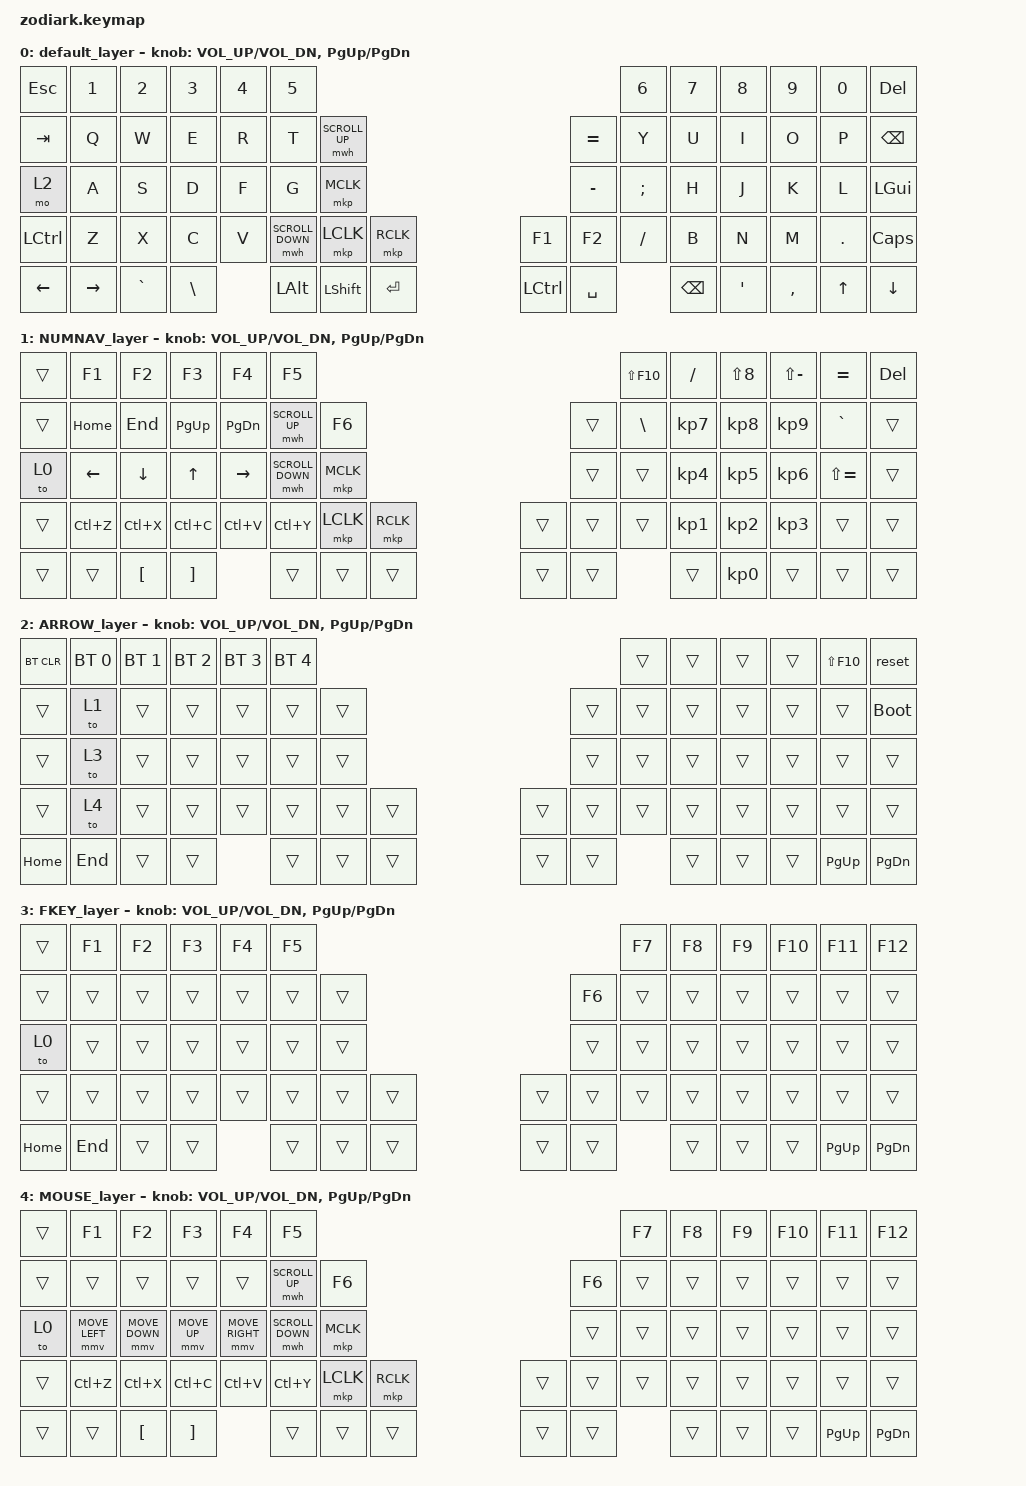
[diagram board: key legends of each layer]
/*
 * Copyright (c) 2020 The ZMK Contributors
 *
 * SPDX-License-Identifier: MIT
 */

#include <behaviors.dtsi>
#include <dt-bindings/zmk/keys.h>
#include <dt-bindings/zmk/bt.h>
#include <dt-bindings/zmk/mouse.h>

#define DEFAULT 0
#define NUMNAV 1 
#define ARROW 2 
#define FKEY 3
#define MOUSE 4
/ {
    keymap {
        compatible = "zmk,keymap";

        default_layer {
// ------------------------------------------------------------------------------------------------------------
// |  ESC  |  1  |  2  |  3   |  4   |  5   |                                  |  6   |  7    |  8    |  9   |   0   | BKSPC |
// |  TAB  |  Q  |  W  |  E   |  R   |  T   |   [    |                 |   ]   |  Y   |  U    |  I    |  O   |   P   |   \   |
// |  CAPS |  A  |  S  |  D   |  F   |  G   |   -    |                 |   =   |  H   |  J    |  K    |  L   |   ;   |   '   |
// | SHIFT |  Z  |  X  |  C   |  V   |  B   |   `    | MUTE  | | PRNT  |  DEL  |  N   |  M    |  ,    |  .   |   /   | ENTER |
// | CTRL  | ALT | GUI | MENU | LOWER|     SPACE     | ENTER | | ENTER |    SPACE     | RAISE| LEFT  | DOWN  |  UP   | RIGHT |
            bindings = <
&kp ESC    &kp N1    &kp N2    &kp N3      &kp N4      &kp N5                                                                                 &kp N6    &kp N7     &kp N8     &kp N9     &kp N0     &kp DEL
&kp TAB    &kp Q     &kp W     &kp E       &kp R       &kp T              &mwh SCROLL_UP                                        &kp EQUAL     &kp Y     &kp U      &kp I      &kp O      &kp P      &kp BSPC
&mo 2      &kp A     &kp S     &kp D       &kp F       &kp G              &mkp MCLK                                             &kp MINUS     &kp SEMI  &kp H      &kp J      &kp K      &kp L      &kp LGUI
&kp LCTRL  &kp Z     &kp X     &kp C       &kp V       &mwh SCROLL_DOWN   &mkp LCLK   &mkp RCLK                     &kp F1      &kp F2        &kp FSLH  &kp B      &kp N      &kp M      &kp DOT    &kp CAPS 
&kp LEFT   &kp RIGHT &kp GRAVE &kp BSLH                &kp LALT           &kp LSHFT   &kp RET                       &kp LCTRL   &kp SPACE               &kp BSPC   &kp SQT    &kp COMMA  &kp UP     &kp DOWN
            >;

            sensor-bindings = <&inc_dec_kp C_VOL_UP C_VOL_DN &inc_dec_kp PG_UP PG_DN>;
        };

        NUMNAV_layer {
            bindings = <
&trans        &kp F1          &kp F2          &kp F3        &kp F4              &kp F5                                                                        &kp LS(F10)  &kp FSLH       &kp LS(N8)    &kp LS(MINUS)  &kp EQUAL      &kp DEL
&trans        &kp HOME        &kp END         &kp PG_UP     &kp PG_DN           &mwh SCROLL_UP    &kp F6                                          &trans      &kp BSLH     &kp KP_N7      &kp KP_N8     &kp KP_N9      &kp GRAVE      &trans
&to 0         &kp LEFT        &kp DOWN        &kp UP        &kp RIGHT           &mwh SCROLL_DOWN  &mkp MCLK                                       &trans      &trans       &kp KP_N4      &kp KP_N5     &kp KP_N6      &kp LS(EQUAL)  &trans
&trans        &kp LC(Z)       &kp LC(X)       &kp LC(C)     &kp LC(V)           &kp LC(Y)         &mkp LCLK    &mkp RCLK               &trans     &trans      &trans       &kp KP_N1      &kp KP_N2     &kp KP_N3      &trans         &trans
&trans        &trans          &kp LBKT        &kp RBKT                          &trans            &trans       &trans                  &trans     &trans      &trans       &kp KP_N0      &trans        &trans         &trans
            >;

            sensor-bindings = <&inc_dec_kp C_VOL_UP C_VOL_DN &inc_dec_kp PG_UP PG_DN>;
        };

        ARROW_layer {
           bindings = <
&bt BT_CLR  &bt BT_SEL 0   &bt BT_SEL 1   &bt BT_SEL 2  &bt BT_SEL 3   &bt BT_SEL 4                                                    &trans  &trans  &trans  &trans  &kp LS(F10)  &reset
&trans      &to 1          &trans         &trans        &trans         &trans      &trans                                      &trans  &trans  &trans  &trans  &trans  &trans       &bootloader
&trans      &to 3          &trans         &trans        &trans         &trans      &trans                                      &trans  &trans  &trans  &trans  &trans  &trans       &trans
&trans      &to 4          &trans         &trans        &trans         &trans      &trans    &trans                 &trans     &trans  &trans  &trans  &trans  &trans  &trans       &trans
&kp HOME   &kp END         &trans         &trans                       &trans      &trans    &trans                 &trans     &trans  &trans          &trans  &trans  &kp PG_UP    &kp PG_DN
            >;

            sensor-bindings = <&inc_dec_kp C_VOL_UP C_VOL_DN &inc_dec_kp PG_UP PG_DN>;
        };
                FKEY_layer {
           bindings = <
&trans      &kp F1         &kp F2         &kp F3        &kp F4         &kp F5                                                          &kp F7  &kp F8  &kp F9  &kp F10    &kp F11    &kp F12
&trans      &trans         &trans         &trans        &trans         &trans      &trans                                      &kp F6  &trans  &trans  &trans  &trans     &trans     &trans
&to 0       &trans         &trans         &trans        &trans         &trans      &trans                                      &trans  &trans  &trans  &trans  &trans     &trans     &trans
&trans      &trans         &trans         &trans        &trans         &trans      &trans    &trans                 &trans     &trans  &trans  &trans  &trans  &trans     &trans     &trans
&kp HOME   &kp END         &trans         &trans                       &trans      &trans    &trans                 &trans     &trans  &trans          &trans  &trans     &kp PG_UP  &kp PG_DN
            >;

            sensor-bindings = <&inc_dec_kp C_VOL_UP C_VOL_DN &inc_dec_kp PG_UP PG_DN>;
        };
                MOUSE_layer {
            bindings = <
&trans        &kp F1          &kp F2          &kp F3        &kp F4              &kp F5                                                                    &kp F7  &kp F8  &kp F9  &kp F10    &kp F11    &kp F12
&trans        &trans          &trans          &trans        &trans              &mwh SCROLL_UP    &kp F6                                          &kp F6  &trans  &trans  &trans  &trans     &trans     &trans
&to 0         &mmv MOVE_LEFT  &mmv MOVE_DOWN  &mmv MOVE_UP  &mmv MOVE_RIGHT     &mwh SCROLL_DOWN  &mkp MCLK                                       &trans  &trans  &trans  &trans  &trans     &trans     &trans
&trans        &kp LC(Z)       &kp LC(X)       &kp LC(C)     &kp LC(V)           &kp LC(Y)         &mkp LCLK    &mkp RCLK               &trans     &trans  &trans  &trans  &trans  &trans     &trans     &trans
&trans        &trans          &kp LBKT        &kp RBKT                           &trans            &trans       &trans                 &trans     &trans  &trans          &trans  &trans     &kp PG_UP  &kp PG_DN
            >;

            sensor-bindings = <&inc_dec_kp C_VOL_UP C_VOL_DN &inc_dec_kp PG_UP PG_DN>;
        };
    };
};
